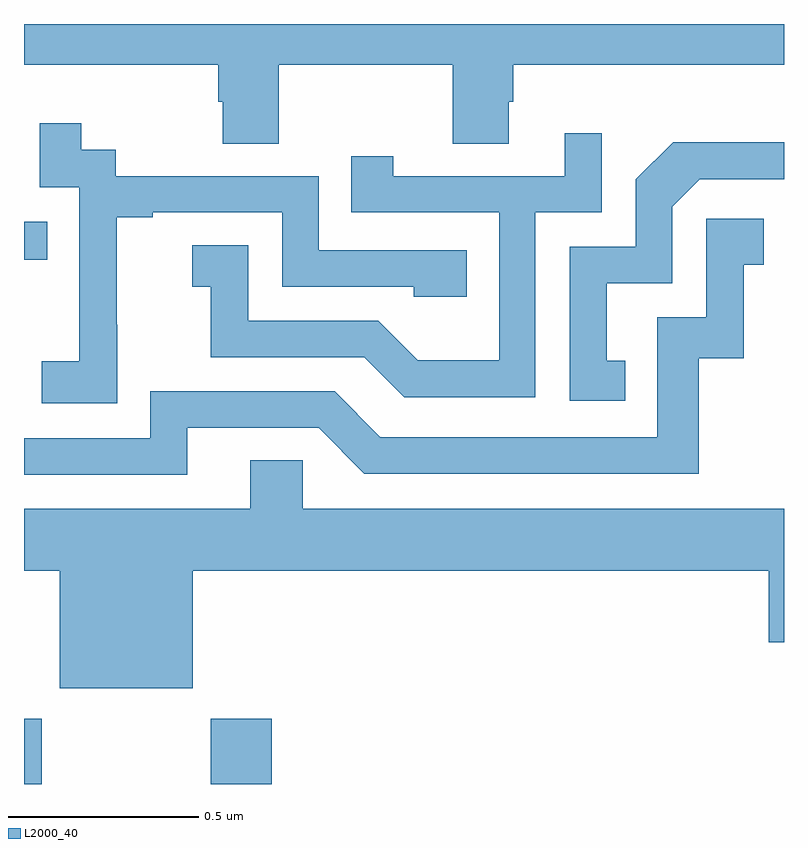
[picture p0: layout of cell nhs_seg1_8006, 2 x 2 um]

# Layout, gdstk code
import gdstk
lib = gdstk.Library(unit=1e-6, precision=1e-09)
def R(c, l, rs):  # rectangles x0, y0, x1, y1
    for r in rs: c.add(gdstk.rectangle(r[:2], r[2:], *l))
def P(c, l, *ps):  # polygons
    for p in ps: c.add(gdstk.Polygon(p, *l))
L2000_40 = (2000, 40)

nhs_seg1_8006 = lib.new_cell('nhs_seg1_8006')
R(nhs_seg1_8006, L2000_40, [(211,523.199,211.047,523.371), (211.492,523.199,211.652,523.371), (211,524.578,211.061,524.679)])
P(nhs_seg1_8006, L2000_40, [(211.671,525.092),(212.128,525.092),(212.128,524.884),(212.275,524.884),(212.275,524.994),(212.288,524.994),(212.288,525.092),(213,525.092),(213,525.199),(211,525.199),(211,525.092),(211.511,525.092),(211.511,524.994),(211.523,524.994),(211.523,524.884),(211.671,524.884)],
  [(211.245,524.407),(211.244,524.407),(211.244,524.691),(211.339,524.691),(211.339,524.703),(211.68,524.703),(211.68,524.508),(212.025,524.508),(212.025,524.481),(212.165,524.481),(212.165,524.604),(211.776,524.604),(211.776,524.799),(211.242,524.799),(211.242,524.868),(211.15,524.868),(211.15,524.938),(211.041,524.938),(211.041,524.769),(211.146,524.769),(211.146,524.54),(211.145,524.54),(211.145,524.311),(211.047,524.311),(211.047,524.201),(211.245,524.201)],
  [(212.346,524.703),(212.52,524.703),(212.52,524.911),(212.423,524.911),(212.423,524.799),(211.972,524.799),(211.972,524.851),(211.861,524.851),(211.861,524.703),(212.25,524.703),(212.25,524.314),(212.036,524.314),(211.932,524.418),(211.59,524.418),(211.59,524.617),(211.443,524.617),(211.443,524.507),(211.492,524.507),(211.492,524.322),(211.895,524.322),(212,524.217),(212.346,524.217)],
  [(212.582,524.313),(212.533,524.313),(212.533,524.517),(212.706,524.517),(212.706,524.718),(212.778,524.79),(213,524.79),(213,524.888),(212.708,524.888),(212.61,524.79),(212.61,524.613),(212.436,524.613),(212.436,524.208),(212.582,524.208)],
  [(211.429,524.136),(211.776,524.136),(211.896,524.016),(212.776,524.016),(212.776,524.319),(212.894,524.319),(212.894,524.565),(212.947,524.565),(212.947,524.686),(212.796,524.686),(212.796,524.427),(212.667,524.427),(212.667,524.112),(211.938,524.112),(211.818,524.232),(211.332,524.232),(211.332,524.109),(211,524.109),(211,524.013),(211.429,524.013)],
  [(211.444,523.76),(212.96,523.76),(212.96,523.572),(213,523.572),(213,523.924),(211.734,523.924),(211.734,524.051),(211.595,524.051),(211.595,523.924),(211,523.924),(211,523.76),(211.094,523.76),(211.094,523.451),(211.444,523.451)])

lib.write_gds('nhs_seg1_8006.gds')
